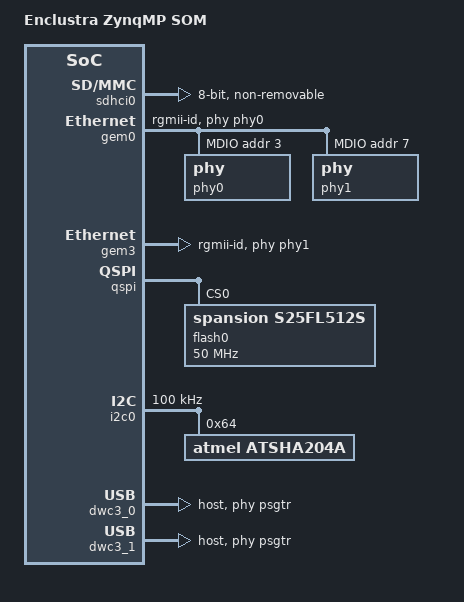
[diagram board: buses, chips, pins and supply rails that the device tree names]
#include "include/dt-bindings/phy/phy.h"

/ {
	model = "Enclustra ZynqMP SOM";
};

&sdhci0 {
	non-removable;
	disable-wp;
	bus-width = <8>;
};

&gem0 {
	/delete-property/ local-mac-address;
	phy-mode = "rgmii-id";
	phy-handle = <&phy0>;

	mdio {
		phy0: phy@3 {
			reg = <3>;

			txc-skew-ps = <1800>;
			txen-skew-ps = <420>;

			txd0-skew-ps = <420>;
			txd1-skew-ps = <420>;
			txd2-skew-ps = <420>;
			txd3-skew-ps = <420>;

			rxc-skew-ps = <900>;
			rxdv-skew-ps = <420>;

			rxd0-skew-ps = <420>;
			rxd1-skew-ps = <420>;
			rxd2-skew-ps = <420>;
			rxd3-skew-ps = <420>;		
		};
		phy1: phy@7 {
			reg = <7>;

			txc-skew-ps = <1800>;
			txen-skew-ps = <420>;

			txd0-skew-ps = <420>;
			txd1-skew-ps = <420>;
			txd2-skew-ps = <420>;
			txd3-skew-ps = <420>;

			rxc-skew-ps = <900>;
			rxdv-skew-ps = <420>;

			rxd0-skew-ps = <420>;
			rxd1-skew-ps = <420>;
			rxd2-skew-ps = <420>;
			rxd3-skew-ps = <420>;		
		};
	};
};

&gem3 {
	/delete-property/ local-mac-address;
	phy-handle = <&phy1>;
	phy-mode = "rgmii-id";
};

&qspi {
	#address-cells = <1>;
	#size-cells = <0>;
	is-dual = <0>;
	num-cs = <1>;
	flash0: flash@0 {
		reg = <0x0>;
		compatible = "spansion,s25fl512s", "jedec,spi-nor";
		spi-rx-bus-width = <0x4>;
		spi-tx-bus-width = <0x4>;
		spi-max-frequency = <50000000>;
		#address-cells = <1>;
		#size-cells = <1>;
	};
};

&psgtr {
	clocks = <&ref100>, <&ref27>;
	clock-names = "ref2", "ref3";
};

&i2c0 {
		clock-frequency = <100000>;
		atsha204a@64 {
			compatible = "atmel,atsha204a";
			reg = <0x64>;
		};
};

&dwc3_0 {
	dr_mode = "host";
	snps,usb3_lpm_capable;
	phy-names = "usb3-phy";
	phys = <&psgtr 2 PHY_TYPE_USB3 0 2>;
	maximum-speed = "super-speed";
};

&dwc3_1 {
	dr_mode = "host";
	snps,usb3_lpm_capable;
	phy-names = "usb3-phy";
	phys = <&psgtr 3 PHY_TYPE_USB3 1 2>;
	maximum-speed = "super-speed";
};

/* SD1 with level shifter */
&sdhci1 {
	no-1-8-v;	/* for 1.0 silicon */
	wp-inverted;
	xlnx,mio_bank = <1>;
};

